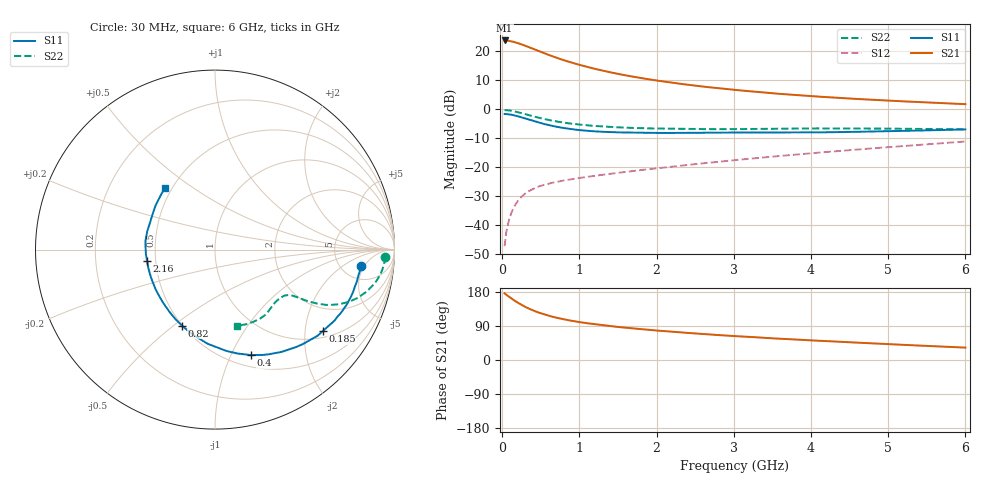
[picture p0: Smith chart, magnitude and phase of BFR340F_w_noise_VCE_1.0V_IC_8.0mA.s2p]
! Infineon Technologies  Discrete & RF Semiconductors
! BFR340F
! VCE =  1.0 V,  IC =  8.0 mA
! Common Emitter S-Parameters:  Nov 2015
# GHz  S  MA  R  50
!  f  S11  S21  S12  S22
! GHz  MAG  ANG  MAG  ANG  MAG  ANG  MAG  ANG
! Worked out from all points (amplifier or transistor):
!   206 points, 30 MHz to 6 GHz, reference 50 ohm
!   highest |S21| = 23.6 dB at 30 MHz (marker M1)
!   |S21| within 3 dB of that: start of sweep to 408.8 MHz
!   unconditionally stable (mu >= 1): 1.396 GHz to end of sweep
!   at 200 MHz: K = 0.23, MSG = 27.2 dB, |S12| = -31.8 dB
!   at 1.56 GHz: K = 1.05, MAG = 15.4 dB, |S12| = -21.9 dB
!   at 6 GHz: K = 1.00, MAG = 6.0 dB, |S12| = -11.3 dB
!   lowest NFmin = 1.32 dB at 450 MHz
!   S11 on the Smith chart (normalised r, x): 30 MHz: 7.63, -4.08; 185 MHz: 1.18, -2.48; 400 MHz: 0.62, -1.19; 820 MHz: 0.50, -0.54; 2.16 GHz: 0.45, -0.07; 6 GHz: 0.46, +0.39
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0.03  0.8156 -6.3  15.06 175.9  0.0043 84.7  0.9498 -2.4
0.05  0.8116 -10.4  14.93 172.2  0.0073 84.0  0.9471 -4.2
0.07  0.8061 -14.8  14.94 169.2  0.0097 82.2  0.9421 -5.9
0.09  0.8019 -19.0  14.78 166.6  0.0126 80.3  0.9353 -7.6
0.15  0.7742 -30.8  14.18 157.8  0.0201 74.9  0.9063 -12.3
0.185  0.7525 -37.2  13.75 153.4  0.024 71.8  0.8844 -14.6
0.24  0.7186 -47.1  13.03 146.6  0.0296 67.7  0.8484 -17.9
0.3  0.6803 -56.9  12.18 139.9  0.0349 64.0  0.8073 -20.9
0.4  0.6205 -71.2  10.78 130.6  0.0418 59.5  0.7427 -24.3
0.5  0.5676 -83.7  9.539 123.1  0.0472 56.4  0.687 -26.6
0.6  0.5262 -94.5  8.482 116.8  0.0514 54.6  0.642 -27.9
0.7  0.4917 -103.8  7.595 111.6  0.0551 53.6  0.6056 -28.8
0.82  0.4614 -113.5  6.729 106.5  0.0589 53.3  0.5722 -29.4
1.04  0.4248 -128.4  5.534 98.9  0.0655 53.8  0.5287 -30.1
1.4  0.3976 -146.6  4.25 89.4  0.0759 56.1  0.4868 -31.4
1.7  0.388 -157.9  3.564 83.2  0.085 58.3  0.4682 -33.0
2.02  0.3842 -167.0  3.046 77.5  0.0952 60.5  0.4572 -35.1
2.16  0.3839 -170.7  2.863 75.3  0.0998 61.4  0.4538 -36.2
3.1  0.3899 171.1  2.066 62.1  0.134 65.7  0.4475 -44.5
4.1  0.3929 156.1  1.621 50.9  0.1758 67.7  0.4594 -52.8
5.1  0.4144 141.9  1.365 40.8  0.2235 67.8  0.4543 -63.1
6  0.4421 129.4  1.203 32.7  0.2735 66.3  0.4429 -73.6
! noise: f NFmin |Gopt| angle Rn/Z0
0.45  1.32  0.34  1  0.29
0.9  1.37  0.33  10  0.32
1.9  1.68  0.2  6  0.3
2.4  1.87  0.15  18  0.3
